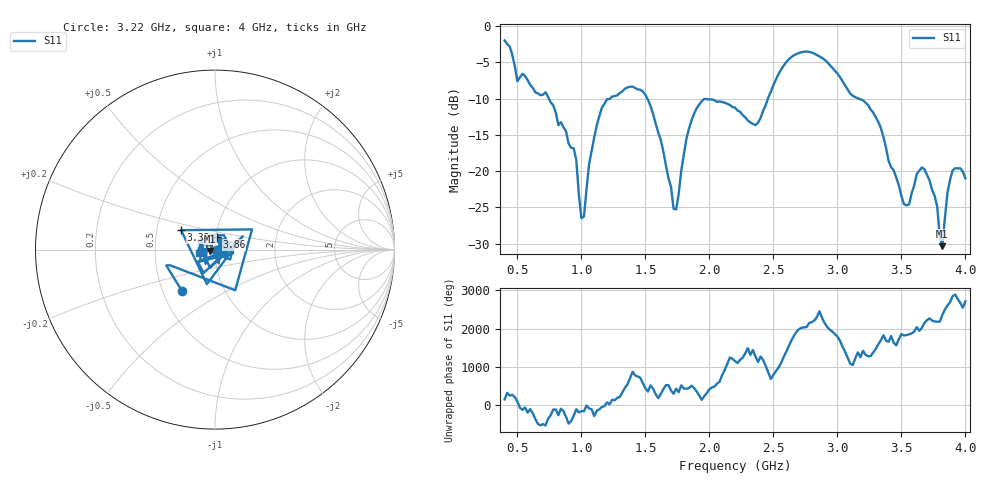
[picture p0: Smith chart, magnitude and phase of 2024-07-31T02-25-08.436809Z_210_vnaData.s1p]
!Created with skrf (http://scikit-rf.org).
# Hz S RI R 50.0
!freq ReS11 ImS11
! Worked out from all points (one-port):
!   181 points, 400 MHz to 4 GHz, reference 50 ohm
!   lowest |S11| = -30.4 dB at 3.82 GHz (marker M1), VSWR 1.06, Z = 47.2 - j0.79 ohm
!   |S11| at or under -10 dB: 746.5 MHz to 1.224 GHz (477.4 MHz wide, 48.5 % of centre); 1.515 GHz to 2.457 GHz (942.2 MHz wide, 47.4 % of centre); 3.166 GHz to end of sweep
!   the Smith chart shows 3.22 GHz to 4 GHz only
!   S11 on the Smith chart (normalised r, x): 3.22 GHz: 0.63, -0.32; 3.32 GHz: 0.67, +0.15; 3.86 GHz: 1.01, +0.14; 4 GHz: 0.84, -0.03
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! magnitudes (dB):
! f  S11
! 400 MHz  -2.0
! 500 MHz  -7.6
! 860 MHz  -14.0
! 940 MHz  -16.9
! 1 GHz  -26.5
! 1.02 GHz  -26.3
! 1.06 GHz  -19.1
! 1.14 GHz  -12.4
! 1.3 GHz  -9.2
! 1.5 GHz  -9.5
! 1.62 GHz  -15.7
! 1.72 GHz  -25.2
! 1.76 GHz  -23.2
! 1.82 GHz  -15.6
! 1.9 GHz  -11.3
! 2.2 GHz  -11.2
! 2.36 GHz  -13.7
! 2.66 GHz  -4.0
! 3.1 GHz  -9.3
! 3.22 GHz  -10.6
! 3.32 GHz  -13.2
! 3.56 GHz  -24.6
! 3.68 GHz  -19.7
! 3.78 GHz  -25.0
! 3.82 GHz  -30.4
! 3.86 GHz  -23.0
! 3.92 GHz  -19.6
! 4 GHz  -21.0
